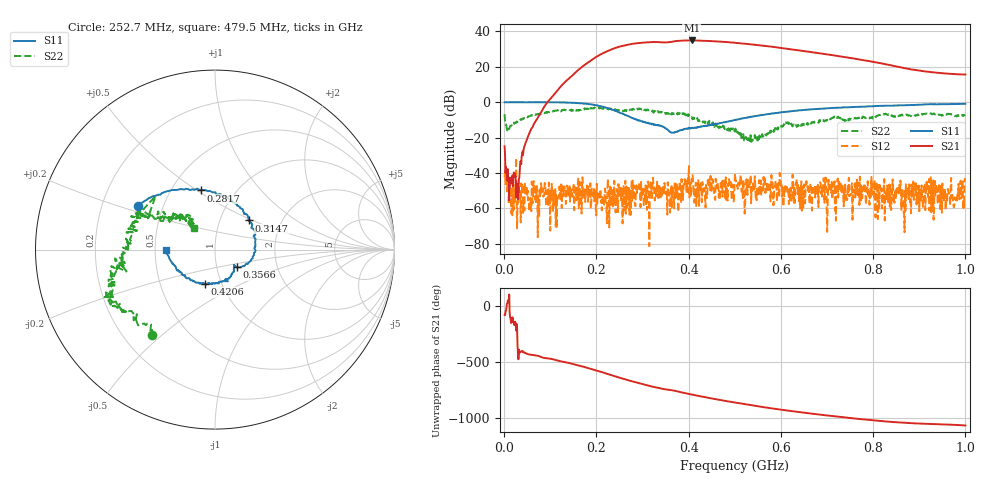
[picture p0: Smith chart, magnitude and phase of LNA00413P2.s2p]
! Created with skrf 1.9.0 (http://scikit-rf.org).
# Hz S RI R 50.0
!freq ReS11 ImS11 ReS21 ImS21 ReS12 ImS12 ReS22 ImS22
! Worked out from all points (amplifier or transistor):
!   1001 points, 1 MHz to 1 GHz, reference 50 ohm
!   highest |S21| = 34.9 dB at 406.6 MHz (marker M1)
!   |S21| within 3 dB of that: 257.3 MHz to 562.8 MHz (305.5 MHz wide, 74.5 % of centre)
!   unconditionally stable (mu >= 1): 189.9 MHz to 262.6 MHz; 276.8 MHz to 399.8 MHz; 400.9 MHz to end of sweep (the widest 3 of 40)
!   at 166.8 MHz: K = 1.46, MAG = 30.9 dB, |S12| = -50.3 dB
!   at 500.5 MHz: K = 1.14, MAG = 34.7 dB, |S12| = -40.3 dB
!   at 1 GHz: K = 2.17, MAG = 23.4 dB, |S12| = -43.4 dB
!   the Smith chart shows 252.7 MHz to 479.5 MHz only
!   S11 on the Smith chart (normalised r, x): 252.7 MHz: 0.36, +0.23; 281.7 MHz: 0.70, +0.52; 314.7 MHz: 1.37, +0.47; 356.6 MHz: 1.25, -0.25; 420.6 MHz: 0.83, -0.33; 479.5 MHz: 0.57, -0.00
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1000000  0.9962 0.0172  0.0128 -0.0554  -0.00204 -0.0072  0.3284 0.3209
1.09891e8  0.5121 -0.8539  -0.816 -1.546  -4.03e-05 -0.00124  0.4492 -0.3503
1.67833e8  -0.2285 -0.8998  -9.757 -0.7468  0.00024 -0.000675  0.0637 -0.6239
2.13787e8  -0.674 -0.3195  -15.31 18.58  0.000911 -0.00166  -0.2061 -0.6417
2.31769e8  -0.6307 -0.0219  -8.169 29.56  0.000205 -0.00441  -0.2666 -0.594
2.52748e8  -0.4296 0.2412  7.215 37.44  -0.000837 -0.00374  -0.3497 -0.4747
2.81719e8  -0.0779 0.3296  32.36 31.72  -0.00132 -0.00316  -0.553 -0.2886
3.14686e8  0.1881 0.1621  48.94 7.34  2.34e-05 -8.23e-05  -0.5663 -0.1635
3.34666e8  0.2266 -0.00651  49.04 -9.237  0.000148 0.00437  -0.5128 -0.0529
3.56644e8  0.1214 -0.0985  44.35 -21.87  0.000886 0.00296  -0.4743 0.0552
3.77623e8  0.1047 -0.1103  39.92 -36.68  -0.000216 0.000768  -0.4299 0.1779
4.06594e8  0.0216 -0.1888  20.29 -51.81  -0.00148 0.00653  -0.3163 0.2131
4.2058e8  -0.0579 -0.1905  8.888 -54.38  0.00522 0.00416  -0.2526 0.1531
4.46554e8  -0.1741 -0.1446  -10.11 -52.62  0.00253 0.00205  -0.1857 0.1787
4.79521e8  -0.2724 -0.000934  -29.48 -40.97  0.00173 0.000237  -0.1177 0.1213
5.005e8  -0.2964 0.1177  -37.22 -30.36  0.00782 0.0056  -0.0971 0.1095
5.4046e8  -0.2292 0.3255  -41.37 -9.139  0.00329 -3.1e-05  -0.0932 0.000549
5.88412e8  -0.0363 0.4923  -34.22 10.66  0.00252 -0.00552  -0.1589 -0.0834
6.67333e8  0.3354 0.5302  -12.85 22.3  -0.000568 -0.000657  -0.2715 -0.0194
7.53247e8  0.6306 0.3606  3.064 17.24  -0.00193 -0.0041  -0.3238 0.0563
8.34166e8  0.7862 0.1401  7.551 8.457  0.00146 0.00106  -0.4209 0.1551
1e9  0.8149 -0.391  5.876 1.546  0.000692 -0.00672  -0.1047 0.4193
